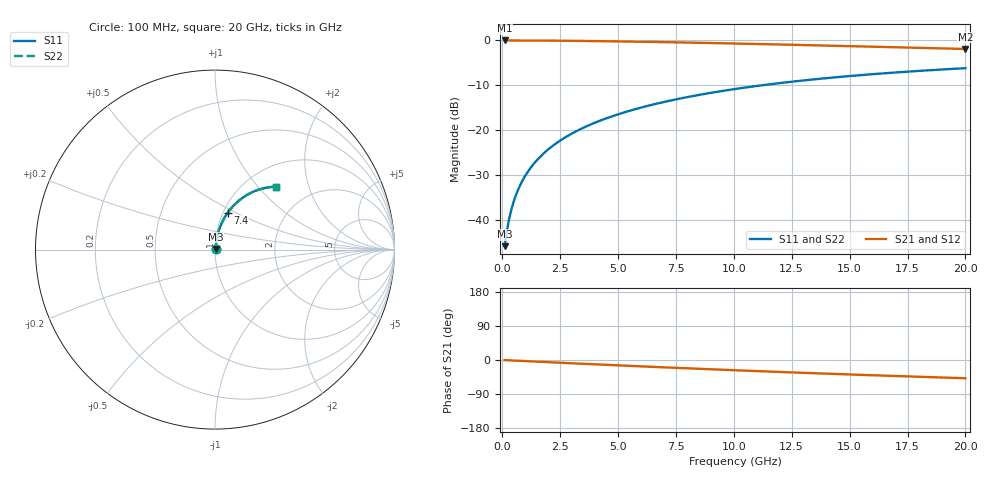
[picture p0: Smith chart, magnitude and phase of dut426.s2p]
! Touchstone file exported from HFSS 2024.1.0
!  File:  C:/UserFiles/LocalFiles/RDL_TSV_Batchsim/temp_RDL_bottom_426_1779684028.aedt
!  Generated:  12:42:58 PM May 25, 2026
!  Design:  RDL_bottom
!  Project:  temp_RDL_bottom_426_1779684028
!  Setup:  Setup1
!  Solution:  Sweep
! Variables:
!  dtsv = 10.80580581um
!  hbump = 3um
!  htsv = 87.79um
!  ldown = 682.67um
!  lrdl = 100um
!  p = 40
!  p1 = 45.3um
!  rhole = 1um
!  t = 450um
!  tdown = 4.97um
!  trdl = 3.915915916um
!  wdown = 12.54um
!  wrdl = 20um
# GHz S MA R 50.000000
! Terminal data exported
! Port[1] = RDL1_T1
! Port[2] = RDL1_T2
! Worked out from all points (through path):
!   200 points, 100 MHz to 20 GHz, reference 50 ohm
!   highest |S21| = -0.03 dB at 100 MHz (marker M1); lowest = -1.9 dB at 20 GHz (marker M2)
!   group delay of S21, straight-line fit = 6.68 ps
!   lowest |S11| = -45.9 dB at 100 MHz (marker M3), VSWR 1.01, Z = 50.4 + j0.32 ohm
!   |S11| at or under -10 dB: start of sweep to 11.27 GHz
!   |S22| runs from -45.9 to -6.2 dB; largest |S21 - S12| = 5.4e-15
!   S11 on the Smith chart (normalised r, x): 100 MHz: 1.01, +0.01; 7.4 GHz: 1.05, +0.45; 20 GHz: 1.36, +1.26
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0.1  0.00505 38.9  0.9961 -0.3  0.9961 -0.3  0.00505 38.9
! Gamma 0 0 0 0
! Port Impedance 50 0 50 0
0.2  0.007494 57.3  0.996 -0.6  0.996 -0.6  0.007494 57.3
0.3  0.01029 65.9  0.9958 -0.9  0.9958 -0.9  0.01029 65.9
0.4  0.01319 70.6  0.9957 -1.2  0.9957 -1.2  0.01319 70.6
0.5  0.01613 73.5  0.9955 -1.5  0.9955 -1.5  0.01613 73.5
0.6  0.01909 75.5  0.9953 -1.8  0.9953 -1.8  0.01909 75.5
0.8  0.02506 78.0  0.995 -2.3  0.995 -2.3  0.02506 78.0
1.1  0.03406 79.8  0.9943 -3.2  0.9943 -3.2  0.03406 79.8
1.5  0.0461 80.7  0.9932 -4.4  0.9932 -4.4  0.0461 80.7
1.8  0.05513 80.8  0.9922 -5.2  0.9922 -5.2  0.05513 80.8
2.1  0.06414 80.7  0.991 -6.1  0.991 -6.1  0.06414 80.7
2.7  0.08208 80.1  0.9882 -7.8  0.9882 -7.8  0.08208 80.0
3.5  0.1058 78.8  0.9835 -10.0  0.9835 -10.0  0.1058 78.8
4.2  0.1263 77.6  0.9787 -12.0  0.9787 -12.0  0.1262 77.5
5  0.1494 76.0  0.9725 -14.2  0.9725 -14.2  0.1493 76.0
6.8  0.2001 72.3  0.9562 -18.9  0.9562 -18.9  0.2 72.3
7.4  0.2165 71.1  0.9501 -20.5  0.9501 -20.5  0.2165 71.0
8.7  0.2514 68.3  0.9363 -23.7  0.9363 -23.7  0.2512 68.3
10.1  0.2874 65.4  0.9204 -27.2  0.9204 -27.2  0.2872 65.3
13.4  0.3654 58.5  0.8807 -34.8  0.8807 -34.8  0.3651 58.5
16.7  0.4324 52.0  0.84 -41.7  0.84 -41.7  0.432 51.9
20  0.4885 46.0  0.8004 -48.1  0.8004 -48.1  0.488 45.9
